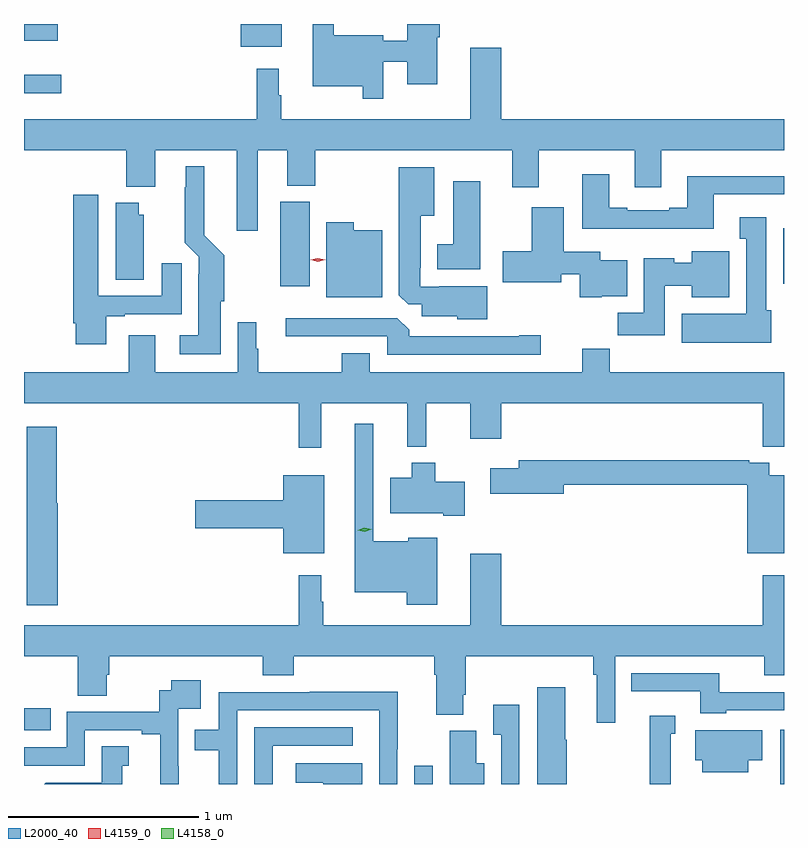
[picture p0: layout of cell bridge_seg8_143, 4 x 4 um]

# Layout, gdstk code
import gdstk
lib = gdstk.Library(unit=1e-6, precision=1e-09)
def R(c, l, rs):  # rectangles x0, y0, x1, y1
    for r in rs: c.add(gdstk.rectangle(r[:2], r[2:], *l))
def P(c, l, *ps):  # polygons
    for p in ps: c.add(gdstk.Polygon(p, *l))
L2000_40 = (2000, 40)
L4158_0 = (4158, 0)
L4159_0 = (4159, 0)

bridge_seg8_143 = lib.new_cell('bridge_seg8_143')
R(bridge_seg8_143, L2000_40, [(524.355,1142.468,524.451,1142.563), (526.281,1142.468,526.3,1142.754), (522.3,1142.751,522.44,1142.866), (523.649,1145.088,523.804,1145.532), (526.295,1145.1,526.3,1145.392), (522.3,1146.104,522.496,1146.201), (523.442,1146.347,523.657,1146.468), (522.3,1146.38,522.478,1146.468)])
P(bridge_seg8_143, L2000_40, [(524.19,1146.27),(524.318,1146.27),(524.318,1146.15),(524.476,1146.15),(524.476,1146.398),(524.489,1146.398),(524.489,1146.468),(524.318,1146.468),(524.318,1146.379),(524.191,1146.379),(524.191,1146.409),(523.93,1146.409),(523.93,1146.468),(523.82,1146.468),(523.82,1146.14),(524.082,1146.14),(524.082,1146.075),(524.19,1146.075)],
  [(524.812,1146.343),(524.648,1146.343),(524.648,1145.968),(523.654,1145.968),(523.654,1146.092),(523.642,1146.092),(523.642,1146.232),(523.525,1146.232),(523.525,1145.968),(522.3,1145.968),(522.3,1145.804),(522.839,1145.804),(522.839,1145.612),(522.991,1145.612),(522.991,1145.804),(523.421,1145.804),(523.421,1145.379),(523.531,1145.379),(523.531,1145.804),(523.685,1145.804),(523.685,1145.617),(523.833,1145.617),(523.833,1145.804),(524.87,1145.804),(524.87,1145.61),(525.01,1145.61),(525.01,1145.804),(525.515,1145.804),(525.515,1145.61),(525.655,1145.61),(525.655,1145.804),(526.3,1145.804),(526.3,1145.968),(524.812,1145.968)],
  [(523.336,1145.01),(523.354,1145.01),(523.354,1145.25),(523.249,1145.356),(523.249,1145.719),(523.151,1145.719),(523.151,1145.609),(523.147,1145.609),(523.147,1145.318),(523.221,1145.244),(523.221,1145.15),(523.217,1145.15),(523.217,1144.831),(523.119,1144.831),(523.119,1144.73),(523.336,1144.73)],
  [(524.737,1145.089),(524.485,1145.089),(524.485,1145.085),(524.385,1145.085),(524.385,1145.185),(524.389,1145.185),(524.389,1145.459),(524.458,1145.459),(524.458,1145.713),(524.273,1145.713),(524.273,1145.041),(524.322,1144.992),(524.393,1144.992),(524.393,1144.931),(524.58,1144.931),(524.58,1144.913),(524.737,1144.913)],
  [(525.931,1145.571),(526.3,1145.571),(526.3,1145.668),(525.791,1145.668),(525.791,1145.5),(525.695,1145.5),(525.695,1145.487),(525.475,1145.487),(525.475,1145.5),(525.379,1145.5),(525.379,1145.677),(525.239,1145.677),(525.239,1145.39),(525.931,1145.39)],
  [(524.701,1145.641),(524.558,1145.641),(524.558,1145.308),(524.474,1145.308),(524.474,1145.177),(524.701,1145.177)],
  [(522.733,1144.929),(522.829,1144.929),(522.829,1144.941),(523.129,1144.941),(523.129,1145.209),(523.025,1145.209),(523.025,1145.037),(522.691,1145.037),(522.691,1145.569),(522.56,1145.569),(522.56,1144.894),(522.572,1144.894),(522.572,1144.782),(522.733,1144.782)],
  [(522.931,1145.463),(522.904,1145.463),(522.904,1145.527),(522.782,1145.527),(522.782,1145.122),(522.931,1145.122)],
  [(525.342,1145.036),(525.475,1145.036),(525.475,1145.224),(525.334,1145.224),(525.334,1145.269),(525.142,1145.269),(525.142,1145.503),(524.972,1145.503),(524.972,1145.271),(524.82,1145.271),(524.82,1145.108),(525.127,1145.108),(525.127,1145.152),(525.224,1145.152),(525.224,1145.03),(525.342,1145.03)],
  [(526.234,1144.962),(526.207,1144.962),(526.207,1145.452),(526.067,1145.452),(526.067,1145.339),(526.1,1145.339),(526.1,1144.942),(525.761,1144.942),(525.761,1144.79),(526.234,1144.79)],
  [(524.185,1145.383),(524.035,1145.383),(524.035,1145.425),(523.892,1145.425),(523.892,1145.03),(524.185,1145.03)],
  [(525.673,1145.09),(525.815,1145.09),(525.815,1145.03),(526.012,1145.03),(526.012,1145.272),(525.815,1145.272),(525.815,1145.212),(525.723,1145.212),(525.723,1145.236),(525.563,1145.236),(525.563,1144.948),(525.424,1144.948),(525.424,1144.83),(525.673,1144.83)],
  [(525.019,1144.829),(524.906,1144.829),(524.906,1144.824),(524.327,1144.824),(524.327,1144.858),(524.265,1144.92),(523.677,1144.92),(523.677,1144.824),(524.211,1144.824),(524.211,1144.728),(525.019,1144.728)],
  [(523.865,1144.472),(524.318,1144.472),(524.318,1144.244),(524.418,1144.244),(524.418,1144.472),(524.648,1144.472),(524.648,1144.284),(524.812,1144.284),(524.812,1144.472),(526.189,1144.472),(526.189,1144.243),(526.3,1144.243),(526.3,1144.636),(525.383,1144.636),(525.383,1144.76),(525.239,1144.76),(525.239,1144.636),(524.119,1144.636),(524.119,1144.735),(523.972,1144.735),(523.972,1144.636),(523.534,1144.636),(523.534,1144.758),(523.522,1144.758),(523.522,1144.897),(523.425,1144.897),(523.425,1144.636),(522.991,1144.636),(522.991,1144.831),(522.851,1144.831),(522.851,1144.636),(522.3,1144.636),(522.3,1144.472),(523.747,1144.472),(523.747,1144.239),(523.865,1144.239)],
  [(524.476,1143.763),(524.322,1143.763),(524.322,1143.745),(524.139,1143.745),(524.139,1144.363),(524.042,1144.363),(524.042,1143.476),(524.315,1143.476),(524.315,1143.411),(524.476,1143.411)],
  [(522.478,1143.945),(522.473,1143.945),(522.473,1144.348),(522.314,1144.348),(522.314,1143.408),(522.478,1143.408)],
  [(526.3,1144.093),(526.222,1144.093),(526.222,1144.158),(526.118,1144.158),(526.118,1144.171),(524.903,1144.171),(524.903,1144.129),(524.754,1144.129),(524.754,1143.995),(525.142,1143.995),(525.142,1144.042),(526.106,1144.042),(526.106,1143.683),(526.3,1143.683)],
  [(524.62,1144.059),(524.464,1144.059),(524.464,1144.159),(524.342,1144.159),(524.342,1144.081),(524.228,1144.081),(524.228,1143.893),(524.507,1143.893),(524.507,1143.881),(524.62,1143.881)],
  [(523.879,1144.093),(523.664,1144.093),(523.664,1143.962),(523.2,1143.962),(523.2,1143.815),(523.664,1143.815),(523.664,1143.683),(523.879,1143.683)],
  [(525.411,1143.14),(526.196,1143.14),(526.196,1143.041),(526.3,1143.041),(526.3,1143.568),(526.189,1143.568),(526.189,1143.304),(524.812,1143.304),(524.812,1143.679),(524.648,1143.679),(524.648,1143.304),(523.876,1143.304),(523.876,1143.428),(523.864,1143.428),(523.864,1143.568),(523.747,1143.568),(523.747,1143.304),(522.3,1143.304),(522.3,1143.14),(522.584,1143.14),(522.584,1142.932),(522.736,1142.932),(522.736,1143.042),(522.749,1143.042),(522.749,1143.14),(523.556,1143.14),(523.556,1143.041),(523.721,1143.041),(523.721,1143.14),(524.459,1143.14),(524.459,1143.044),(524.471,1143.044),(524.471,1142.833),(524.611,1142.833),(524.611,1142.938),(524.624,1142.938),(524.624,1143.14),(525.295,1143.14),(525.295,1143.044),(525.314,1143.044),(525.314,1142.79),(525.411,1142.79)],
  [(525.996,1142.856),(526.3,1142.856),(526.3,1142.952),(525.96,1142.952),(525.96,1143.051),(525.496,1143.051),(525.496,1142.955),(525.86,1142.955),(525.86,1142.84),(525.996,1142.84)],
  [(523.115,1142.561),(523.113,1142.561),(523.113,1142.865),(523.231,1142.865),(523.231,1143.013),(523.075,1143.013),(523.075,1142.961),(523.012,1142.961),(523.012,1142.847),(522.525,1142.847),(522.525,1142.661),(522.3,1142.661),(522.3,1142.565),(522.621,1142.565),(522.621,1142.751),(522.92,1142.751),(522.92,1142.731),(523.016,1142.731),(523.016,1142.468),(523.115,1142.468)],
  [(525.156,1142.702),(525.148,1142.702),(525.148,1142.977),(525.002,1142.977),(525.002,1142.468),(525.156,1142.468)],
  [(523.422,1142.856),(524.169,1142.856),(524.169,1142.468),(524.265,1142.468),(524.265,1142.65),(524.267,1142.65),(524.267,1142.954),(523.804,1142.954),(523.804,1142.952),(523.326,1142.952),(523.326,1142.754),(523.198,1142.754),(523.198,1142.646),(523.325,1142.646),(523.325,1142.468),(523.422,1142.468)],
  [(524.907,1142.884),(524.771,1142.884),(524.771,1142.728),(524.811,1142.728),(524.811,1142.468),(524.907,1142.468)],
  [(525.703,1142.733),(525.727,1142.733),(525.727,1142.827),(525.594,1142.827),(525.594,1142.468),(525.703,1142.468)],
  [(523.608,1142.67),(524.029,1142.67),(524.029,1142.766),(523.512,1142.766),(523.512,1142.468),(523.608,1142.468)],
  [(526.111,1142.594),(526.186,1142.594),(526.186,1142.752),(525.833,1142.752),(525.833,1142.594),(525.869,1142.594),(525.869,1142.531),(526.111,1142.531)],
  [(524.722,1142.578),(524.68,1142.578),(524.68,1142.748),(524.54,1142.748),(524.54,1142.468),(524.722,1142.468)],
  [(522.817,1142.563),(522.85,1142.563),(522.85,1142.666),(522.71,1142.666),(522.71,1142.475),(522.414,1142.475),(522.407,1142.468),(522.817,1142.468)],
  [(524.08,1142.578),(523.731,1142.578),(523.731,1142.474),(523.875,1142.474),(523.875,1142.468),(524.08,1142.468)])
P(bridge_seg8_143, L4158_0, [(524.094,1143.796),(524.057,1143.803),(524.057,1143.803),(524.057,1143.804),(524.092,1143.816),(524.129,1143.809),(524.129,1143.808),(524.129,1143.808)])
P(bridge_seg8_143, L4159_0, [(523.846,1145.216),(523.808,1145.226),(523.808,1145.226),(523.808,1145.226),(523.846,1145.236),(523.885,1145.226),(523.885,1145.226),(523.885,1145.226)])

lib.write_gds('bridge_seg8_143.gds')
